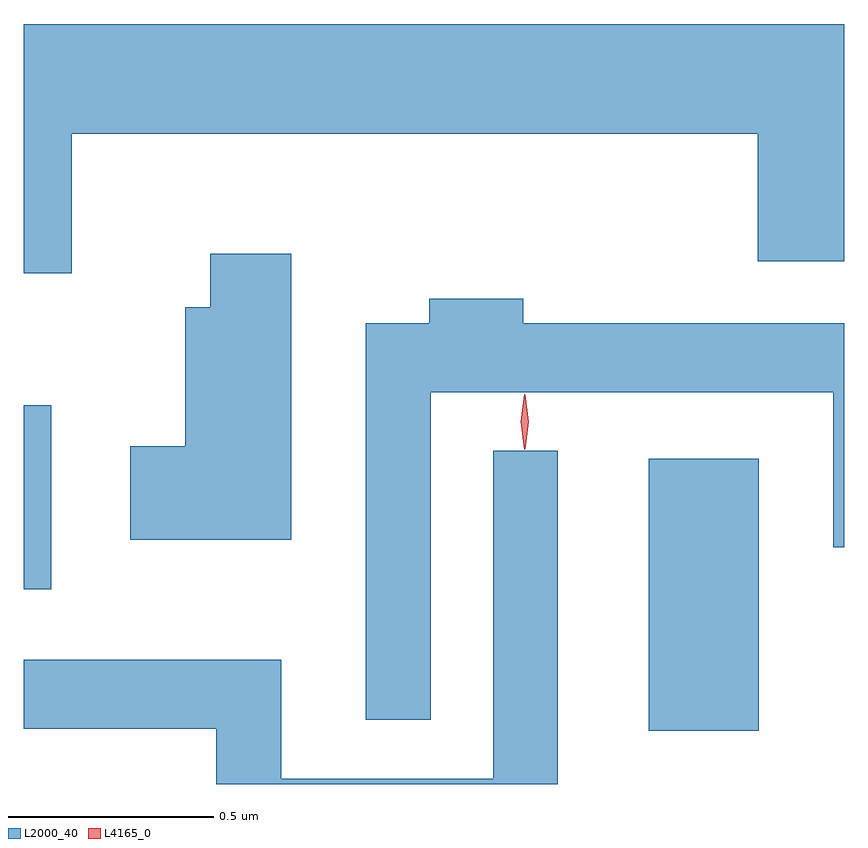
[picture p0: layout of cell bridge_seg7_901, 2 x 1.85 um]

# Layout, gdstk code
import gdstk
lib = gdstk.Library(unit=1e-6, precision=1e-09)
def R(c, l, rs):  # rectangles x0, y0, x1, y1
    for r in rs: c.add(gdstk.rectangle(r[:2], r[2:], *l))
def P(c, l, *ps):  # polygons
    for p in ps: c.add(gdstk.Polygon(p, *l))
L2000_40 = (2000, 40)
L4165_0 = (4165, 0)

bridge_seg7_901 = lib.new_cell('bridge_seg7_901')
R(bridge_seg7_901, L2000_40, [(353.636,1688.441,353.904,1689.104), (352.112,1688.786,352.179,1689.234)])
P(bridge_seg7_901, L2000_40, [(352.229,1689.896),(353.901,1689.896),(353.901,1689.586),(354.112,1689.586),(354.112,1690.164),(352.112,1690.164),(352.112,1689.556),(352.229,1689.556)],
  [(352.764,1689.604),(352.566,1689.604),(352.566,1689.474),(352.506,1689.474),(352.506,1689.134),(352.371,1689.134),(352.371,1688.906),(352.764,1688.906)],
  [(353.104,1689.266),(354.086,1689.266),(354.086,1688.888),(354.112,1688.888),(354.112,1689.434),(353.329,1689.434),(353.329,1689.494),(353.101,1689.494),(353.101,1689.434),(352.946,1689.434),(352.946,1688.468),(353.104,1688.468)],
  [(353.414,1689.123),(353.256,1689.123),(353.256,1688.324),(352.739,1688.324),(352.739,1688.614),(352.112,1688.614),(352.112,1688.446),(352.581,1688.446),(352.581,1688.311),(353.414,1688.311)])
P(bridge_seg7_901, L4165_0, [(353.332,1689.127),(353.323,1689.194),(353.332,1689.26),(353.333,1689.261),(353.334,1689.26),(353.343,1689.194),(353.334,1689.127),(353.333,1689.127)])

lib.write_gds('bridge_seg7_901.gds')
